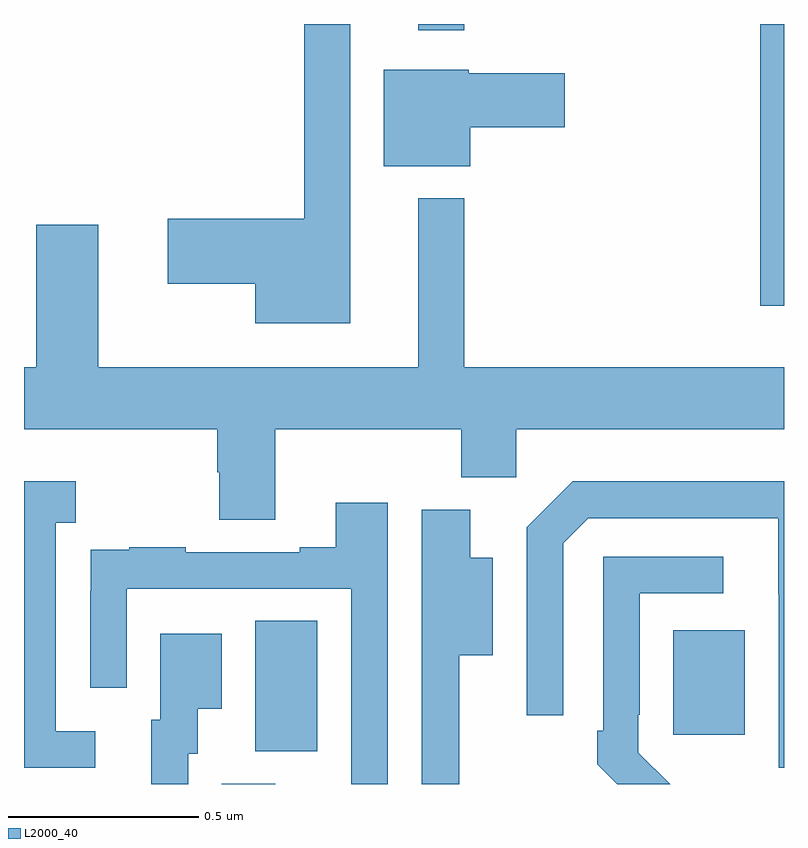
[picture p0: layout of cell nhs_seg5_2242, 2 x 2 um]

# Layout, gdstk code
import gdstk
lib = gdstk.Library(unit=1e-6, precision=1e-09)
def R(c, l, rs):  # rectangles x0, y0, x1, y1
    for r in rs: c.add(gdstk.rectangle(r[:2], r[2:], *l))
def P(c, l, *ps):  # polygons
    for p in ps: c.add(gdstk.Polygon(p, *l))
L2000_40 = (2000, 40)

nhs_seg5_2242 = lib.new_cell('nhs_seg5_2242')
R(nhs_seg5_2242, L2000_40, [(141.521,883.799,141.661,883.8), (141.608,883.885,141.772,884.228), (142.709,883.929,142.897,884.203), (142.938,885.057,143,885.799), (142.037,885.783,142.159,885.799)])
P(nhs_seg5_2242, L2000_40, [(141.859,885.799),(141.738,885.799),(141.738,885.287),(141.378,885.287),(141.378,885.116),(141.608,885.116),(141.608,885.011),(141.859,885.011)],
  [(142.174,885.527),(142.423,885.527),(142.423,885.669),(142.17,885.669),(142.17,885.679),(141.947,885.679),(141.947,885.425),(142.174,885.425)],
  [(141.661,884.732),(142.15,884.732),(142.15,884.606),(142.296,884.606),(142.296,884.732),(143,884.732),(143,884.896),(142.159,884.896),(142.159,885.34),(142.037,885.34),(142.037,884.896),(141.196,884.896),(141.196,885.271),(141.032,885.271),(141.032,884.896),(141,884.896),(141,884.732),(141.509,884.732),(141.509,884.619),(141.514,884.619),(141.514,884.494),(141.661,884.494)],
  [(143,884.596),(142.444,884.596),(142.323,884.475),(142.323,883.98),(142.419,883.98),(142.419,884.433),(142.485,884.499),(142.985,884.499),(142.985,884.299),(142.986,884.299),(142.986,883.842),(143,883.842)],
  [(141.187,883.938),(141.084,883.938),(141.084,884.486),(141.136,884.486),(141.136,884.596),(141,884.596),(141,883.842),(141.187,883.842)],
  [(141.957,884.539),(141.821,884.539),(141.821,884.422),(141.725,884.422),(141.725,884.409),(141.425,884.409),(141.425,884.422),(141.277,884.422),(141.277,884.415),(141.175,884.415),(141.175,884.306),(141.174,884.306),(141.174,884.052),(141.27,884.052),(141.27,884.313),(141.861,884.313),(141.861,883.799),(141.957,883.799)],
  [(142.145,884.138),(142.234,884.138),(142.234,884.395),(142.174,884.395),(142.174,884.521),(142.047,884.521),(142.047,883.799),(142.145,883.799)],
  [(142.617,883.881),(142.617,883.981),(142.62,883.981),(142.62,884.301),(142.84,884.301),(142.84,884.397),(142.524,884.397),(142.524,883.939),(142.509,883.939),(142.509,883.851),(142.561,883.799),(142.7,883.799)],
  [(141.432,883.878),(141.457,883.878),(141.457,883.997),(141.52,883.997),(141.52,884.194),(141.359,884.194),(141.359,883.968),(141.335,883.968),(141.335,883.799),(141.432,883.799)])

lib.write_gds('nhs_seg5_2242.gds')
